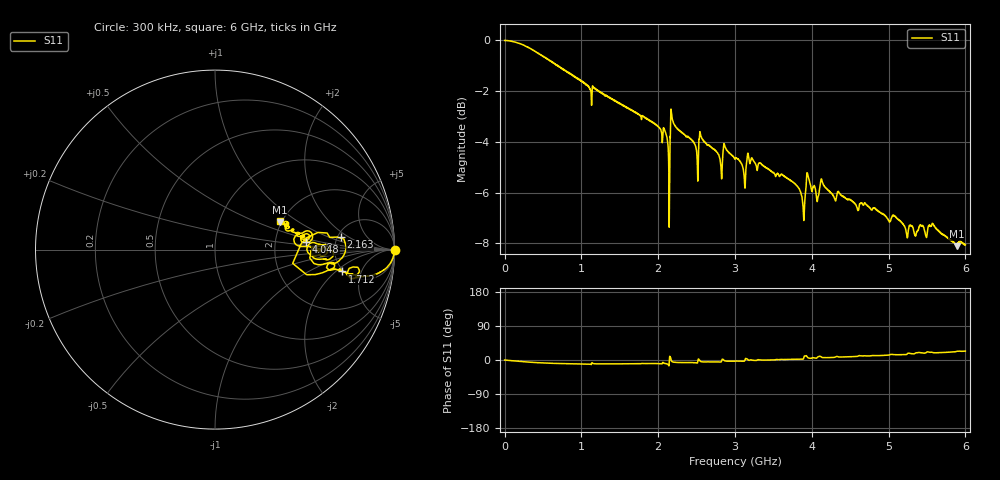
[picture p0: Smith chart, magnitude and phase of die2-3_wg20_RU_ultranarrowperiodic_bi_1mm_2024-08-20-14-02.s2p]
!Keysight Technologies,P9374A,MY57304198,A.17.20.09
!Date: Tuesday, August 20, 2024 14:03:03
!Correction: S11(C  1-Port  )
!S21(C  1-Port  )
!S12(Off)
!S22(Off)
!S2P File: Measurements: S11, S21, S12, S22:
# Hz S  dB  R 50
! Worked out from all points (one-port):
!   6000 points, 300 kHz to 6 GHz, reference 50 ohm
!   lowest |S11| = -8.1 dB at 5.888 GHz (marker M1), VSWR 2.30, Z = 98 + j35.8 ohm
!   |S11| at or under -10 dB: nowhere
!   S11 on the Smith chart (normalised r, x): 300 kHz: open; 1.712 GHz: 4.86, -2.46; 2.163 GHz: 5.33, +1.45; 4.048 GHz: 3.03, +0.33; 6 GHz: 1.96, +0.73
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300000  0.00 -0.0  -200.00 45.0  -200.00 45.0  -200.00 45.0
4.313503e8  -0.48 -7.0  -200.00 45.0  -200.00 45.0  -200.00 45.0
1.000417e9  -1.58 -10.4  -200.00 45.0  -200.00 45.0  -200.00 45.0
1.7125e9  -2.85 -9.8  -200.00 45.0  -200.00 45.0  -200.00 45.0
2.000533e9  -3.38 -9.4  -200.00 45.0  -200.00 45.0  -200.00 45.0
2.112546e9  -3.80 -10.2  -200.00 45.0  -200.00 45.0  -200.00 45.0
2.162552e9  -3.06 5.6  -200.00 45.0  -200.00 45.0  -200.00 45.0
2.190556e9  -3.17 -5.2  -200.00 45.0  -200.00 45.0  -200.00 45.0
2.496591e9  -4.29 -7.6  -200.00 45.0  -200.00 45.0  -200.00 45.0
2.559599e9  -3.79 -4.4  -200.00 45.0  -200.00 45.0  -200.00 45.0
2.809628e9  -4.77 -5.4  -200.00 45.0  -200.00 45.0  -200.00 45.0
2.873635e9  -4.22 -2.7  -200.00 45.0  -200.00 45.0  -200.00 45.0
3.00065e9  -4.68 -2.7  -200.00 45.0  -200.00 45.0  -200.00 45.0
3.157668e9  -4.67 2.9  -200.00 45.0  -200.00 45.0  -200.00 45.0
3.635724e9  -5.35 1.3  -200.00 45.0  -200.00 45.0  -200.00 45.0
3.889754e9  -6.73 2.8  -200.00 45.0  -200.00 45.0  -200.00 45.0
3.926758e9  -5.69 11.6  -200.00 45.0  -200.00 45.0  -200.00 45.0
4.000767e9  -5.94 5.4  -200.00 45.0  -200.00 45.0  -200.00 45.0
4.047772e9  -5.87 4.6  -200.00 45.0  -200.00 45.0  -200.00 45.0
5.000883e9  -7.09 13.0  -200.00 45.0  -200.00 45.0  -200.00 45.0
5.887987e9  -8.11 23.1  -200.00 45.0  -200.00 45.0  -200.00 45.0
6e9  -8.06 23.3  -200.00 45.0  -200.00 45.0  -200.00 45.0
